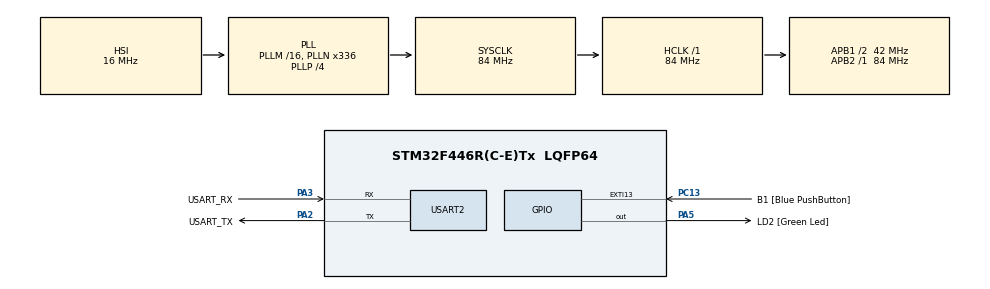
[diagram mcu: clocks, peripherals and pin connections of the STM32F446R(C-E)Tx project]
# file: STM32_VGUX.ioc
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Mcu.Family=STM32F4
Mcu.Name=STM32F446R(C-E)Tx
Mcu.Package=LQFP64
NVIC.PriorityGroup=NVIC_PRIORITYGROUP_0
PA13.GPIO_Label=TMS
PA13.Mode=Serial_Wire
PA13.Signal=SYS_JTMS-SWDIO
PA14.GPIO_Label=TCK
PA14.Mode=Serial_Wire
PA14.Signal=SYS_JTCK-SWCLK
PA2.GPIO_Label=USART_TX
PA2.Mode=Asynchronous
PA2.Signal=USART2_TX
PA3.GPIO_Label=USART_RX
PA3.Mode=Asynchronous
PA3.Signal=USART2_RX
PA5.GPIO_Label=LD2 [Green Led]
PA5.Signal=GPIO_Output
PB3.GPIO_Label=SWO
PB3.Signal=SYS_JTDO-SWO
PC13.GPIO_Label=B1 [Blue PushButton]
PC13.GPIO_ModeDefaultEXTI=GPIO_MODE_IT_FALLING
PC13.Signal=GPXTI13
PC14-OSC32_IN.Mode=LSE-External-Oscillator
PC14-OSC32_IN.Signal=RCC_OSC32_IN
PC15-OSC32_OUT.Mode=LSE-External-Oscillator
PC15-OSC32_OUT.Signal=RCC_OSC32_OUT
PH0-OSC_IN.Mode=HSE-External-Oscillator
PH0-OSC_IN.Signal=RCC_OSC_IN
PH1-OSC_OUT.Mode=HSE-External-Oscillator
PH1-OSC_OUT.Signal=RCC_OSC_OUT
ProjectManager.HeapSize=0x200
ProjectManager.StackSize=0x400
ProjectManager.TargetToolchain=STM32CubeIDE
RCC.48MHZClocksFreq_Value=84000000
RCC.AHBFreq_Value=84000000
RCC.APB1CLKDivider=RCC_HCLK_DIV2
RCC.APB1Freq_Value=42000000
RCC.APB1TimFreq_Value=84000000
RCC.APB2Freq_Value=84000000
RCC.APB2TimFreq_Value=84000000
RCC.CortexFreq_Value=84000000
RCC.FLatency-AdvancedSettings=FLASH_LATENCY_2
RCC.HCLKFreq_Value=84000000
RCC.HSE_VALUE=8000000
RCC.HSI_VALUE=16000000
RCC.PLLN=336
RCC.PLLP=RCC_PLLP_DIV4
RCC.SYSCLKFreq_VALUE=84000000
RCC.SYSCLKSource=RCC_SYSCLKSOURCE_PLLCLK
RCC.USBFreq_Value=168000000
RCC.VCOOutputFreq_Value=336000000
USART2.VirtualMode=VM_ASYNC
board=NUCLEO-F446RE

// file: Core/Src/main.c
/* USER CODE BEGIN Header */
/**
  ******************************************************************************
  * @file           : main.c
  * @brief          : Main program body
  ******************************************************************************
  * @attention
  *
  * <h2><center>&copy; Copyright (c) 2021 STMicroelectronics.
  * All rights reserved.</center></h2>
  *
  * This software component is licensed by ST under BSD 3-Clause license,
  * the "License"; You may not use this file except in compliance with the
  * License. You may obtain a copy of the License at:
  *                        opensource.org/licenses/BSD-3-Clause
  *
  ******************************************************************************
  */
/* USER CODE END Header */
#include "main.h"

UART_HandleTypeDef huart2;

void SystemClock_Config(void);
static void MX_GPIO_Init(void);
static void MX_USART2_UART_Init(void);

/* USER CODE BEGIN 0 */

int __io_putchar(int ch) {
	HAL_UART_Transmit(&huart2, &ch, 1, 1000);
}

void ledBlinker(void);
void varSizePrint(void);
void pointerIncrementPrint(void);

/* USER CODE END 0 */

int main(void)
{
  /* USER CODE BEGIN 1 */
  struct noeud* arbreHuffman[256];
  struct noeud* racine;
  uint8_t 	texte[]="aaaabbbccd";
  uint8_t 	texteCompress[TAILLE_MAX_COMPRESS] = {0};
  uint32_t 	tabCaractere[256] = {0};
  uint32_t	nbrCaractereTotal = 0;
  uint32_t	nbrCaractereDifferent = 0;

  uint8_t tabEntete[256] = {0};

  uint16_t tailleTableauHuffman = 0;
  /* USER CODE END 1 */

  /* MCU Configuration--------------------------------------------------------*/

  /* Reset of all peripherals, Initializes the Flash interface and the Systick. */
  HAL_Init();

  /* Configure the system clock */
  SystemClock_Config();

  /* Initialize all configured peripherals */
  MX_GPIO_Init();
  MX_USART2_UART_Init();
  /* USER CODE BEGIN 2 */

  /*****************************************************************************************
   * 									Partie 2 TP										   *
   *****************************************************************************************/

	  occurence(texte, tabCaractere);
	  occurencePrint(tabCaractere);

	  tailleTableauHuffman = creerFeuille(arbreHuffman, tabCaractere);
	  triArbre(arbreHuffman, tailleTableauHuffman);
	  afficherTabArbreHuffman (arbreHuffman, tailleTableauHuffman);

	  printf("\nCreation racine\n");

	  racine = creerRacine(arbreHuffman, tailleTableauHuffman);

	  printf("\nParcours arbre : Affichage caractere et occurence\n");
	  parcourirArbre(racine);
	  //free(arbreHuffman); // a corriger 2.3.6

	  printf("\n");
	  creerCode(racine, 0, 0);

	  nbrCaractereTotal = strlen((unsigned char*) texte);
	  printf("\n\n\nnbrCaractereTotal = %d\n", nbrCaractereTotal);

	  nbrCaractereDifferent = obtenirNbCarDifferent(tabCaractere);
	  printf("\nnbrCaractereDifferent = %d\n", nbrCaractereDifferent);

	  uint16_t tailleTexteCompresse = textCompressor(racine, texte, texteCompress);
	  printf("\nTaille texte compresse = %d\n\n", tailleTexteCompresse);

	  generateurEntete(tabEntete, racine, tailleTexteCompresse, nbrCaractereTotal, tabCaractere);

	  //HAL_UART_Receive_IT(&huart2, pData, Size);

  /* USER CODE END 2 */

  /* Infinite loop */
  while (1)
  {

	  /*****************************************************************************************
	   * 									Partie 1 TP										   *
	   *****************************************************************************************/

	  /*ledBlinker();

	  uint8_t str[15];

	  uint32_t i = 888;
	  sprintf(str, "%d\n", i);
	  myPrintf(str);

	  printf(str);

	  varSizePrint();
	  pointerIncrementPrint();*/

  }
}

void SystemClock_Config(void)
{
  RCC_OscInitTypeDef RCC_OscInitStruct = {0};
  RCC_ClkInitTypeDef RCC_ClkInitStruct = {0};

  /** Configure the main internal regulator output voltage
  */
  __HAL_RCC_PWR_CLK_ENABLE();
  __HAL_PWR_VOLTAGESCALING_CONFIG(PWR_REGULATOR_VOLTAGE_SCALE3);
  /** Initializes the RCC Oscillators according to the specified parameters
  * in the RCC_OscInitTypeDef structure.
  */
  RCC_OscInitStruct.OscillatorType = RCC_OSCILLATORTYPE_HSI;
  RCC_OscInitStruct.HSIState = RCC_HSI_ON;
  RCC_OscInitStruct.HSICalibrationValue = RCC_HSICALIBRATION_DEFAULT;
  RCC_OscInitStruct.PLL.PLLState = RCC_PLL_ON;
  RCC_OscInitStruct.PLL.PLLSource = RCC_PLLSOURCE_HSI;
  RCC_OscInitStruct.PLL.PLLM = 16;
  RCC_OscInitStruct.PLL.PLLN = 336;
  RCC_OscInitStruct.PLL.PLLP = RCC_PLLP_DIV4;
  RCC_OscInitStruct.PLL.PLLQ = 2;
  RCC_OscInitStruct.PLL.PLLR = 2;
  if (HAL_RCC_OscConfig(&RCC_OscInitStruct) != HAL_OK)
  {
    Error_Handler();
  }
  /** Initializes the CPU, AHB and APB buses clocks
  */
  RCC_ClkInitStruct.ClockType = RCC_CLOCKTYPE_HCLK|RCC_CLOCKTYPE_SYSCLK
                              |RCC_CLOCKTYPE_PCLK1|RCC_CLOCKTYPE_PCLK2;
  RCC_ClkInitStruct.SYSCLKSource = RCC_SYSCLKSOURCE_PLLCLK;
  RCC_ClkInitStruct.AHBCLKDivider = RCC_SYSCLK_DIV1;
  RCC_ClkInitStruct.APB1CLKDivider = RCC_HCLK_DIV2;
  RCC_ClkInitStruct.APB2CLKDivider = RCC_HCLK_DIV1;

  if (HAL_RCC_ClockConfig(&RCC_ClkInitStruct, FLASH_LATENCY_2) != HAL_OK)
  {
    Error_Handler();
  }
}

static void MX_USART2_UART_Init(void)
{

  huart2.Instance = USART2;
  huart2.Init.BaudRate = 115200;
  huart2.Init.WordLength = UART_WORDLENGTH_8B;
  huart2.Init.StopBits = UART_STOPBITS_1;
  huart2.Init.Parity = UART_PARITY_NONE;
  huart2.Init.Mode = UART_MODE_TX_RX;
  huart2.Init.HwFlowCtl = UART_HWCONTROL_NONE;
  huart2.Init.OverSampling = UART_OVERSAMPLING_16;
  if (HAL_UART_Init(&huart2) != HAL_OK)
  {
    Error_Handler();
  }

}

static void MX_GPIO_Init(void)
{
  GPIO_InitTypeDef GPIO_InitStruct = {0};

  /* GPIO Ports Clock Enable */
  __HAL_RCC_GPIOC_CLK_ENABLE();
  __HAL_RCC_GPIOH_CLK_ENABLE();
  __HAL_RCC_GPIOA_CLK_ENABLE();
  __HAL_RCC_GPIOB_CLK_ENABLE();

  /*Configure GPIO pin Output Level */
  HAL_GPIO_WritePin(LD2_GPIO_Port, LD2_Pin, GPIO_PIN_RESET);

  /*Configure GPIO pin : B1_Pin */
  GPIO_InitStruct.Pin = B1_Pin;
  GPIO_InitStruct.Mode = GPIO_MODE_IT_FALLING;
  GPIO_InitStruct.Pull = GPIO_NOPULL;
  HAL_GPIO_Init(B1_GPIO_Port, &GPIO_InitStruct);

  /*Configure GPIO pin : LD2_Pin */
  GPIO_InitStruct.Pin = LD2_Pin;
  GPIO_InitStruct.Mode = GPIO_MODE_OUTPUT_PP;
  GPIO_InitStruct.Pull = GPIO_NOPULL;
  GPIO_InitStruct.Speed = GPIO_SPEED_FREQ_LOW;
  HAL_GPIO_Init(LD2_GPIO_Port, &GPIO_InitStruct);

}

/* USER CODE BEGIN 4 */
void ledBlinker(void) {
	HAL_GPIO_WritePin(GPIOA, GPIO_PIN_5, 1);
	HAL_Delay(500);
	HAL_GPIO_WritePin(GPIOA, GPIO_PIN_5, 0);
	HAL_Delay(500);
}

void varSizePrint(void) {
	  //Affichage de la taille de chaque type de variable
	  printf("char size = %d\n", sizeof(char));
	  printf("int size = %d\n", sizeof(int));
	  printf("unsigned int size = %d\n", sizeof(unsigned int));
	  printf("long int size = %d\n", sizeof(long int));
	  printf("unsigned long int size = %d\n", sizeof(unsigned long int));
	  printf("uint8_t size = %d\n", sizeof(uint8_t));
	  printf("int8_t size = %d\n", sizeof(int8_t));
	  printf("uint16_t size = %d\n", sizeof(uint16_t));
	  printf("int16_t size = %d\n", sizeof(int16_t));
	  printf("uint32_t size = %d\n", sizeof(uint32_t));
	  printf("int32_t size = %d\n", sizeof(int32_t));
	  printf("uint64_t size = %d\n", sizeof(uint64_t));
	  printf("int64_t size = %d\n", sizeof(int64_t));
	  printf("float size = %d\n", sizeof(float));
	  printf("double size = %d\n", sizeof(double));
	  printf("long double size = %d\n", sizeof(long double));

}
void pointerIncrementPrint(void) {
	  //Opérations sur les pointeurs pour observer le changement dans les adresses pointées
	  uint8_t *pUint8 = 0;
	  uint8_t tabUint8[3] = {0};
	  pUint8 = &tabUint8;

	  printf("pUint8 = %d\n", pUint8);
	  pUint8++;
	  printf("pUint8 + 1 = %d\n", pUint8);

	  uint16_t *pUint16 = 0;
	  uint16_t tabUint16[3] = {0};
	  pUint16 = &tabUint16;

	  printf("pUint16 = %d\n", pUint16);
	  pUint16++;
	  printf("pUint16 + 1 = %d\n", pUint16);

	  uint32_t *pUint32 = 0;
	  uint32_t tabUint32[3] = {0};
	  pUint32 = &tabUint32;

	  printf("pUint32 = %d\n", pUint32);
	  pUint32++;
	  printf("pUint32 + 1 = %d\n", pUint32);

	  uint64_t *pUint64 = 0;
	  uint64_t tabUint64[3] = {0};
	  pUint64 = &tabUint64;

	  printf("pUint64 = %d\n", pUint64);
	  pUint64++;
	  printf("pUint64 + 1 = %d\n", pUint64);
}

/* USER CODE END 4 */

void Error_Handler(void)
{
}

/************************ (C) COPYRIGHT STMicroelectronics *****END OF FILE****/
